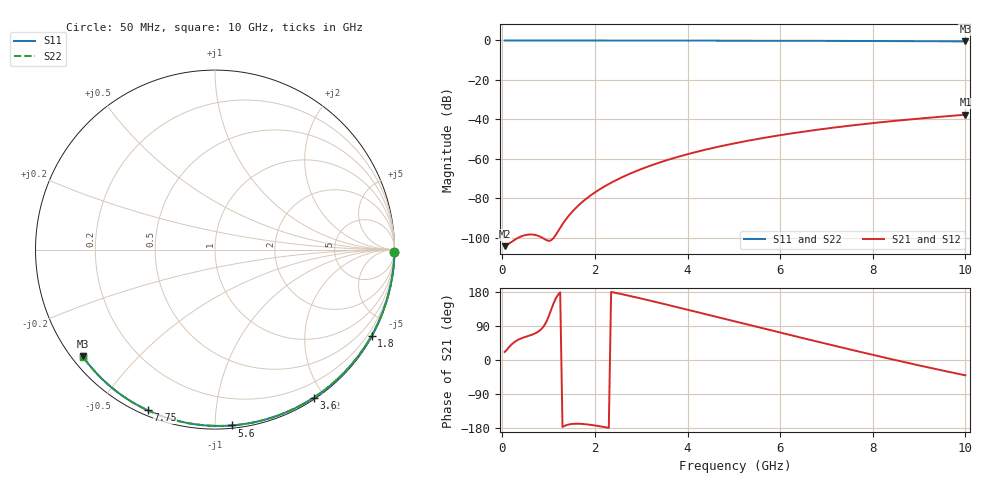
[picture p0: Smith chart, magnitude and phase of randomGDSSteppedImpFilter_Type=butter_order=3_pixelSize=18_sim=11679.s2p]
! freq	dB(S11)	phase(S11)	dB(S12)	phase(S12)
!  dB(S21)	phase(S21)	dB(S22)	phase(S22)
!S-par simulation data
#  GHz  S  DB  R 50
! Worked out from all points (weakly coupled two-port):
!   200 points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, 50 MHz to 10 GHz, reference 50 ohm
!   highest |S21| = -37.63 dB at 10 GHz (marker M1); lowest = -104.3 dB at 50 MHz (marker M2)
!   lowest |S11| = -0.5 dB at 10 GHz (marker M3), VSWR 36.81, Z = 1.53 - j17.7 ohm
!   |S11| at or under -10 dB: nowhere
!   |S22| runs from -0.5 to 0.0 dB; largest |S21 - S12| = 0
!   S11 on the Smith chart (normalised r, x): 50 MHz: open; 1.8 GHz: 0.03, -3.89; 3.6 GHz: 0.02, -1.87; 5.6 GHz: 0.02, -1.10; 7.75 GHz: 0.02, -0.67; 10 GHz: 0.03, -0.35
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0.05  -0.00 -0.8  -104.29 21.1  -104.29 21.1  -0.00 -0.8
0.45  -0.01 -7.3  -98.98 58.9  -98.98 58.9  -0.01 -7.3
0.9  -0.02 -14.6  -100.53 90.0  -100.53 90.0  -0.02 -14.5
1.75  -0.04 -28.0  -81.44 -169.0  -81.44 -169.0  -0.04 -28.0
1.8  -0.04 -28.8  -80.48 -169.5  -80.48 -169.5  -0.04 -28.8
1.85  -0.04 -29.6  -79.57 -170.2  -79.57 -170.2  -0.04 -29.6
2.05  -0.04 -32.7  -76.26 -173.7  -76.26 -173.7  -0.04 -32.7
2.25  -0.05 -35.8  -73.41 -178.0  -73.41 -178.0  -0.05 -35.8
2.55  -0.05 -40.5  -69.75 174.5  -69.75 174.5  -0.05 -40.4
2.95  -0.06 -46.5  -65.67 163.6  -65.67 163.6  -0.06 -46.5
3.4  -0.07 -53.3  -61.85 150.6  -61.85 150.6  -0.07 -53.3
3.6  -0.08 -56.3  -60.36 144.7  -60.36 144.7  -0.08 -56.3
4.3  -0.09 -66.5  -55.87 123.6  -55.87 123.6  -0.09 -66.5
5.05  -0.12 -77.1  -51.99 100.9  -51.99 100.9  -0.12 -77.0
5.6  -0.14 -84.6  -49.59 84.4  -49.59 84.4  -0.14 -84.6
6.15  -0.16 -92.0  -47.47 67.9  -47.47 67.9  -0.16 -92.0
6.7  -0.19 -99.3  -45.59 51.5  -45.59 51.5  -0.19 -99.2
7.2  -0.22 -105.7  -44.06 36.8  -44.06 36.8  -0.22 -105.7
7.75  -0.26 -112.7  -42.54 20.8  -42.54 20.8  -0.26 -112.7
8.35  -0.31 -120.3  -41.06 3.7  -41.06 3.7  -0.31 -120.3
9.15  -0.38 -130.3  -39.31 -18.3  -39.31 -18.3  -0.38 -130.3
10  -0.47 -141.1  -37.63 -40.5  -37.63 -40.5  -0.47 -141.0
